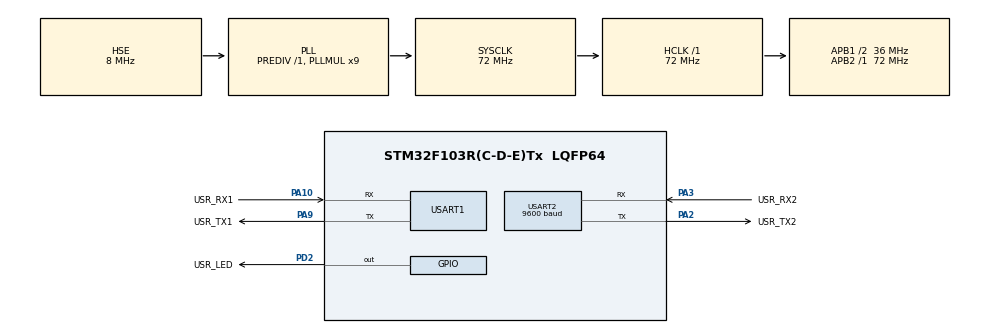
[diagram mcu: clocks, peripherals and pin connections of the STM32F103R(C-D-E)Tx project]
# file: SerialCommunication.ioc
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Dma.Request0=USART2_RX
Dma.USART2_RX.0.Direction=DMA_PERIPH_TO_MEMORY
Dma.USART2_RX.0.Instance=DMA1_Channel6
Dma.USART2_RX.0.MemDataAlignment=DMA_MDATAALIGN_BYTE
Dma.USART2_RX.0.MemInc=DMA_MINC_ENABLE
Dma.USART2_RX.0.Mode=DMA_NORMAL
Dma.USART2_RX.0.PeriphDataAlignment=DMA_PDATAALIGN_BYTE
Dma.USART2_RX.0.PeriphInc=DMA_PINC_DISABLE
Dma.USART2_RX.0.Priority=DMA_PRIORITY_LOW
Mcu.Family=STM32F1
Mcu.Name=STM32F103R(C-D-E)Tx
Mcu.Package=LQFP64
NVIC.DMA1_Channel6_IRQn=true\:0\:0\:false\:false\:true\:false\:true
NVIC.PriorityGroup=NVIC_PRIORITYGROUP_4
NVIC.USART2_IRQn=true\:0\:0\:false\:false\:true\:true\:true
PA10.GPIO_Label=USR_RX1
PA10.Mode=Asynchronous
PA10.Signal=USART1_RX
PA13.Mode=Serial_Wire
PA13.Signal=SYS_JTMS-SWDIO
PA14.Mode=Serial_Wire
PA14.Signal=SYS_JTCK-SWCLK
PA2.GPIO_Label=USR_TX2
PA2.Mode=Asynchronous
PA2.Signal=USART2_TX
PA3.GPIO_Label=USR_RX2
PA3.Mode=Asynchronous
PA3.Signal=USART2_RX
PA9.GPIO_Label=USR_TX1
PA9.Mode=Asynchronous
PA9.Signal=USART1_TX
PD0-OSC_IN.Mode=HSE-External-Oscillator
PD0-OSC_IN.Signal=RCC_OSC_IN
PD1-OSC_OUT.Mode=HSE-External-Oscillator
PD1-OSC_OUT.Signal=RCC_OSC_OUT
PD2.GPIO_Label=USR_LED
PD2.Signal=GPIO_Output
ProjectManager.HeapSize=0x200
ProjectManager.StackSize=0x400
ProjectManager.TargetToolchain=Makefile
RCC.AHBFreq_Value=72000000
RCC.APB1CLKDivider=RCC_HCLK_DIV2
RCC.APB1Freq_Value=36000000
RCC.APB1TimFreq_Value=72000000
RCC.APB2Freq_Value=72000000
RCC.APB2TimFreq_Value=72000000
RCC.HCLKFreq_Value=72000000
RCC.PLLMUL=RCC_PLL_MUL9
RCC.PLLSourceVirtual=RCC_PLLSOURCE_HSE
RCC.SYSCLKFreq_VALUE=72000000
RCC.SYSCLKSource=RCC_SYSCLKSOURCE_PLLCLK
RCC.USBFreq_Value=72000000
USART1.VirtualMode=VM_ASYNC
USART2.BaudRate=9600
USART2.VirtualMode=VM_ASYNC
board=custom

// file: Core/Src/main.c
/* USER CODE BEGIN Header */
/**
  ******************************************************************************
  * @file           : main.c
  * @brief          : Main program body
  ******************************************************************************
  * @attention
  *
  * <h2><center>&copy; Copyright (c) 2021 STMicroelectronics.
  * All rights reserved.</center></h2>
  *
  * This software component is licensed by ST under BSD 3-Clause license,
  * the "License"; You may not use this file except in compliance with the
  * License. You may obtain a copy of the License at:
  *                        opensource.org/licenses/BSD-3-Clause
  *
  ******************************************************************************
  */
/* USER CODE END Header */
#include "main.h"
#include "dma.h"
#include "usart.h"
#include "gpio.h"

//uint8_t u2_RX_Buf[8];
uint8_t recv_msg[8];
uint8_t send_msg[8];

void SystemClock_Config(void);

int main(void)
{

  /* MCU Configuration--------------------------------------------------------*/

  /* Reset of all peripherals, Initializes the Flash interface and the Systick. */
  HAL_Init();

  /* Configure the system clock */
  SystemClock_Config();

  /* Initialize all configured peripherals */
  MX_GPIO_Init();
  MX_USART1_UART_Init();
  MX_DMA_Init();
  MX_USART2_UART_Init();

  /* Infinite loop */
  while (1)
  {
    /* USER CODE BEGIN 3 */

    /* 初始示例 */
    /*
    static int cnt = 1;
    HAL_GPIO_TogglePin(USR_LED_GPIO_Port, USR_LED_Pin);
    u_printf(&huart1, "test: %d %f\r\n", cnt, 1.0/cnt);
    ++cnt;
    HAL_Delay(500);
    */

    /* 蓝牙和电脑通信 */
    /*
    while (HAL_UART_Receive(&huart2, u2_RX_Buf, sizeof(u2_RX_Buf), 100) != HAL_OK);
    u_printf(&huart1, "received:"); // 转发到串口1
    HAL_UART_Transmit(&huart1, u2_RX_Buf, sizeof(u2_RX_Buf), HAL_MAX_DELAY);
    u_printf(&huart2, "received:"); // 转发到串口2
    HAL_UART_Transmit(&huart2, u2_RX_Buf, sizeof(u2_RX_Buf), HAL_MAX_DELAY);
    delay_ms(100);
    */

    /* Asignment */

    /* A */
    // partA();

    /* B */
    partB();
  }
  /* USER CODE END 3 */
}

void SystemClock_Config(void)
{
  RCC_OscInitTypeDef RCC_OscInitStruct = {0};
  RCC_ClkInitTypeDef RCC_ClkInitStruct = {0};

  /** Initializes the RCC Oscillators according to the specified parameters
  * in the RCC_OscInitTypeDef structure.
  */
  RCC_OscInitStruct.OscillatorType = RCC_OSCILLATORTYPE_HSE;
  RCC_OscInitStruct.HSEState = RCC_HSE_ON;
  RCC_OscInitStruct.HSEPredivValue = RCC_HSE_PREDIV_DIV1;
  RCC_OscInitStruct.HSIState = RCC_HSI_ON;
  RCC_OscInitStruct.PLL.PLLState = RCC_PLL_ON;
  RCC_OscInitStruct.PLL.PLLSource = RCC_PLLSOURCE_HSE;
  RCC_OscInitStruct.PLL.PLLMUL = RCC_PLL_MUL9;
  if (HAL_RCC_OscConfig(&RCC_OscInitStruct) != HAL_OK)
  {
    Error_Handler();
  }
  /** Initializes the CPU, AHB and APB buses clocks
  */
  RCC_ClkInitStruct.ClockType = RCC_CLOCKTYPE_HCLK|RCC_CLOCKTYPE_SYSCLK
                              |RCC_CLOCKTYPE_PCLK1|RCC_CLOCKTYPE_PCLK2;
  RCC_ClkInitStruct.SYSCLKSource = RCC_SYSCLKSOURCE_PLLCLK;
  RCC_ClkInitStruct.AHBCLKDivider = RCC_SYSCLK_DIV1;
  RCC_ClkInitStruct.APB1CLKDivider = RCC_HCLK_DIV2;
  RCC_ClkInitStruct.APB2CLKDivider = RCC_HCLK_DIV1;

  if (HAL_RCC_ClockConfig(&RCC_ClkInitStruct, FLASH_LATENCY_2) != HAL_OK)
  {
    Error_Handler();
  }
}

/* USER CODE BEGIN 4 */
void partA()
{
  int rand_num = 100000 + rand() % 900000; //生成随机六位数
  uint8_t recv_msg[8];

  u_printf(&huart1, "A-made:%d", rand_num);

  u_printf(&huart2, "%d", rand_num);

  u_printf(&huart1, "A->B");

  while (HAL_UART_Receive(&huart2, recv_msg, 6, 100) != HAL_OK); //接收数据,最大延时100ms
  recv_msg[6] = '\0';
  u_printf(&huart1, "A-recv:%s", recv_msg); // A接收字符发送给串口

  for (int j = 0; j < 6; ++j)
  {
    HAL_GPIO_TogglePin(USR_LED_GPIO_Port, USR_LED_Pin);
    delay_ms(20);
  } //如果接收到信息，LED闪三下

  HAL_Delay(3000);  //每隔三秒发送随机数字
}

void partB()
{
   while (HAL_UART_Receive(&huart2, recv_msg, 6, 10000) != HAL_OK); //接收数据
   recv_msg[6] = '\0';
   u_printf(&huart1, "B-recv:%s", recv_msg); // B接收字符发送给串口

   for (int j = 0; j < 6; ++j)
   {
     send_msg[j] = recv_msg[5 - j];
   }
   send_msg[6] = '\0';

   u_printf(&huart1, "B-reverse:%s", send_msg); //反转后发给串口

   u_printf(&huart1, "B->A");

   u_printf(&huart2, send_msg);

}
/* USER CODE END 4 */

void Error_Handler(void)
{
  __disable_irq();
  while (1)
  {
  }
}

/************************ (C) COPYRIGHT STMicroelectronics *****END OF FILE****/
